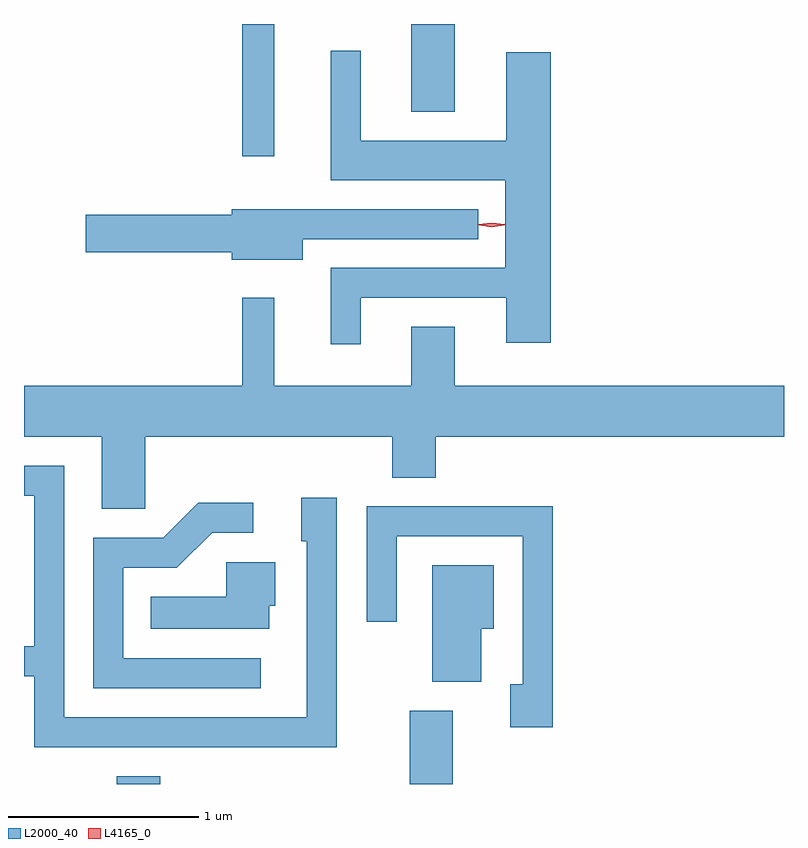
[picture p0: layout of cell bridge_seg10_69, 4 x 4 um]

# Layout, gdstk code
import gdstk
lib = gdstk.Library(unit=1e-6, precision=1e-09)
def R(c, l, rs):  # rectangles x0, y0, x1, y1
    for r in rs: c.add(gdstk.rectangle(r[:2], r[2:], *l))
def P(c, l, *ps):  # polygons
    for p in ps: c.add(gdstk.Polygon(p, *l))
L2000_40 = (2000, 40)
L4165_0 = (4165, 0)

bridge_seg10_69 = lib.new_cell('bridge_seg10_69')
R(bridge_seg10_69, L2000_40, [(1561.121,2163.148,1561.349,2163.189), (1562.661,2163.148,1562.889,2163.534), (1561.781,2166.453,1561.949,2167.148), (1562.671,2166.686,1562.899,2167.148)])
P(bridge_seg10_69, L2000_40, [(1562.404,2165.706),(1563.171,2165.706),(1563.171,2165.471),(1563.404,2165.471),(1563.404,2166.999),(1563.171,2166.999),(1563.171,2166.534),(1562.404,2166.534),(1562.404,2167.008),(1562.246,2167.008),(1562.246,2166.326),(1563.166,2166.326),(1563.166,2165.864),(1562.246,2165.864),(1562.246,2165.463),(1562.404,2165.463)],
  [(1562.099,2166.016),(1563.023,2166.016),(1563.023,2166.174),(1561.726,2166.174),(1561.726,2166.144),(1560.956,2166.144),(1560.956,2165.946),(1561.726,2165.946),(1561.726,2165.906),(1562.099,2165.906)],
  [(1561.269,2164.976),(1562.571,2164.976),(1562.571,2164.761),(1562.799,2164.761),(1562.799,2164.976),(1564.632,2164.976),(1564.632,2165.244),(1562.899,2165.244),(1562.899,2165.554),(1562.671,2165.554),(1562.671,2165.244),(1561.949,2165.244),(1561.949,2165.708),(1561.781,2165.708),(1561.781,2165.244),(1560.632,2165.244),(1560.632,2164.976),(1561.041,2164.976),(1561.041,2164.596),(1561.269,2164.596)],
  [(1562.279,2164.654),(1562.091,2164.654),(1562.091,2164.426),(1562.121,2164.426),(1562.121,2163.499),(1560.844,2163.499),(1560.844,2164.824),(1560.632,2164.824),(1560.632,2164.666),(1560.686,2164.666),(1560.686,2163.874),(1560.632,2163.874),(1560.632,2163.716),(1560.686,2163.716),(1560.686,2163.341),(1562.279,2163.341)],
  [(1561.878,2163.809),(1561.154,2163.809),(1561.154,2164.286),(1561.437,2164.286),(1561.622,2164.471),(1561.838,2164.471),(1561.838,2164.629),(1561.549,2164.629),(1561.364,2164.444),(1560.996,2164.444),(1560.996,2163.651),(1561.878,2163.651)],
  [(1563.414,2164.609),(1562.436,2164.609),(1562.436,2164.003),(1562.594,2164.003),(1562.594,2164.451),(1563.256,2164.451),(1563.256,2163.674),(1563.191,2163.674),(1563.191,2163.446),(1563.414,2163.446)],
  [(1561.924,2164.086),(1561.954,2164.086),(1561.954,2164.314),(1561.696,2164.314),(1561.696,2164.134),(1561.298,2164.134),(1561.298,2163.966),(1561.924,2163.966)],
  [(1563.039,2163.966),(1563.104,2163.966),(1563.104,2164.299),(1562.781,2164.299),(1562.781,2163.686),(1563.039,2163.686)])
P(bridge_seg10_69, L4165_0, [(1563.093,2166.083),(1563.024,2166.092),(1563.023,2166.093),(1563.024,2166.093),(1563.093,2166.103),(1563.162,2166.093),(1563.163,2166.093),(1563.162,2166.092)],
  [(1563.093,2166.079),(1563.028,2166.09),(1563.027,2166.09),(1563.028,2166.091),(1563.093,2166.099),(1563.159,2166.089),(1563.16,2166.088),(1563.159,2166.088)])

lib.write_gds('bridge_seg10_69.gds')
